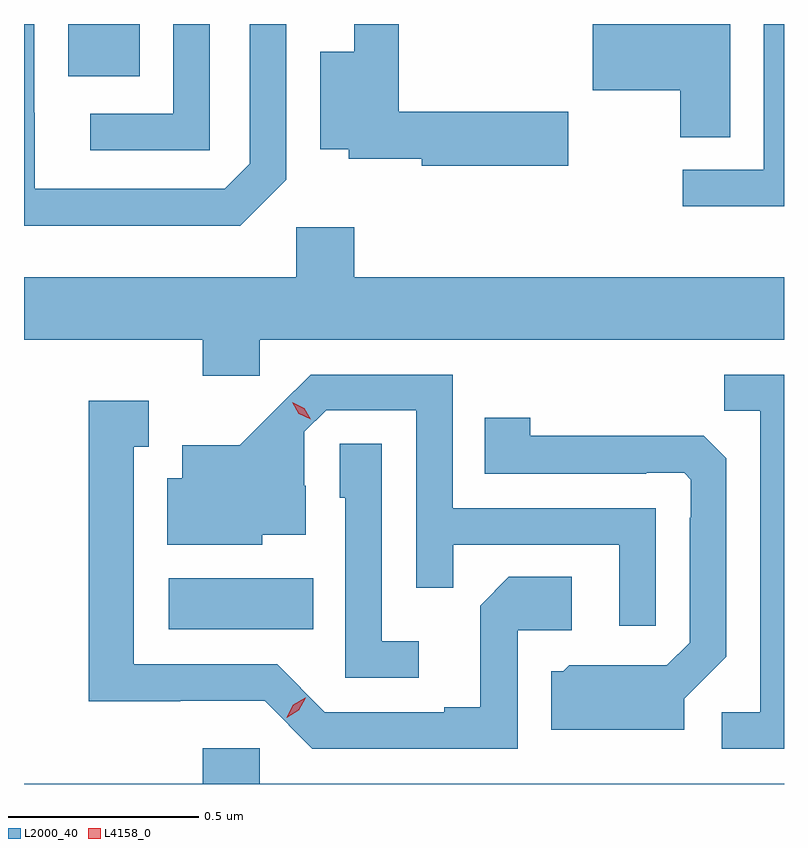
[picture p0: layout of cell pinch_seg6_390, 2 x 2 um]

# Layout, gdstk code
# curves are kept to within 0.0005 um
import gdstk
lib = gdstk.Library(unit=1e-6, precision=1e-09)
def R(c, l, rs):  # rectangles x0, y0, x1, y1
    for r in rs: c.add(gdstk.rectangle(r[:2], r[2:], *l))
def P(c, l, *ps):  # polygons
    for p in ps: c.add(gdstk.Polygon(p, *l))
L2000_40 = (2000, 40)
L4158_0 = (4158, 0)

pinch_seg6_390 = lib.new_cell('pinch_seg6_390')
R(pinch_seg6_390, L2000_40, [(660.408,926.594,660.788,926.728), (660.143,928.049,660.331,928.187)])
P(pinch_seg6_390, L2000_40, [(662.027,928.187),(661.974,928.187),(661.974,927.804),(661.761,927.804),(661.761,927.708),(662.027,927.708)],
  [(661.459,927.956),(661.013,927.956),(661.013,928.187),(660.896,928.187),(660.896,928.114),(660.806,928.114),(660.806,927.857),(660.882,927.857),(660.882,927.833),(661.074,927.833),(661.074,927.814),(661.459,927.814)],
  [(660.516,928.187),(660.42,928.187),(660.42,927.951),(660.201,927.951),(660.201,927.855),(660.516,927.855)],
  [(660.717,927.777),(660.717,928.187),(660.621,928.187),(660.621,927.819),(660.555,927.753),(660.055,927.753),(660.055,927.953),(660.054,927.953),(660.054,928.187),(660.027,928.187),(660.027,927.656),(660.596,927.656)],
  [(661.885,928.187),(661.524,928.187),(661.524,928.013),(661.754,928.013),(661.754,927.889),(661.885,927.889)],
  [(660.648,927.356),(662.027,927.356),(662.027,927.52),(660.896,927.52),(660.896,927.652),(660.744,927.652),(660.744,927.52),(660.027,927.52),(660.027,927.356),(660.497,927.356),(660.497,927.261),(660.648,927.261)],
  [(662.027,927.264),(661.87,927.264),(661.87,927.169),(661.965,927.169),(661.965,926.376),(661.863,926.376),(661.863,926.28),(662.027,926.28)],
  [(661.689,926.913),(661.155,926.913),(661.155,927.264),(660.782,927.264),(660.595,927.079),(660.443,927.079),(660.443,926.992),(660.404,926.992),(660.404,926.816),(660.654,926.816),(660.654,926.843),(660.769,926.843),(660.769,926.972),(660.765,926.972),(660.765,927.114),(660.822,927.171),(661.059,927.171),(661.059,926.704),(661.157,926.704),(661.157,926.817),(661.593,926.817),(661.593,926.604),(661.689,926.604)],
  [(661.326,926.592),(661.468,926.592),(661.468,926.732),(661.303,926.732),(661.227,926.656),(661.227,926.389),(661.133,926.389),(661.133,926.376),(660.819,926.376),(660.693,926.502),(660.316,926.502),(660.316,927.075),(660.355,927.075),(660.355,927.196),(660.198,927.196),(660.198,926.405),(660.438,926.405),(660.438,926.406),(660.66,926.406),(660.786,926.28),(661.326,926.28)],
  [(661.765,926.412),(661.875,926.522),(661.875,927.044),(661.816,927.103),(661.715,927.103),(661.715,927.104),(661.359,927.104),(661.359,927.151),(661.24,927.151),(661.24,927.003),(661.664,927.003),(661.664,927.006),(661.764,927.006),(661.782,926.988),(661.782,926.888),(661.779,926.888),(661.779,926.559),(661.719,926.499),(661.596,926.499),(661.596,926.5),(661.462,926.5),(661.446,926.484),(661.415,926.484),(661.415,926.33),(661.765,926.33)],
  [(661.066,926.563),(660.969,926.563),(660.969,927.083),(660.858,927.083),(660.858,926.94),(660.873,926.94),(660.873,926.466),(661.066,926.466)],
  [(662.027,926.188),(660.648,926.188),(660.648,926.281),(660.497,926.281),(660.497,926.188),(660.027,926.188),(660.027,926.187),(662.027,926.187)])
P(pinch_seg6_390, L4158_0, [(660.781,927.147),(660.75,927.161),(660.733,927.191),(660.733,927.191),(660.733,927.191),(660.764,927.176),(660.781,927.147),(660.781,927.147)],
  [(660.718,926.362),(660.718,926.363),(660.736,926.395),(660.767,926.414),(660.768,926.414),(660.768,926.414),(660.75,926.381),(660.718,926.362)])

lib.write_gds('pinch_seg6_390.gds')
